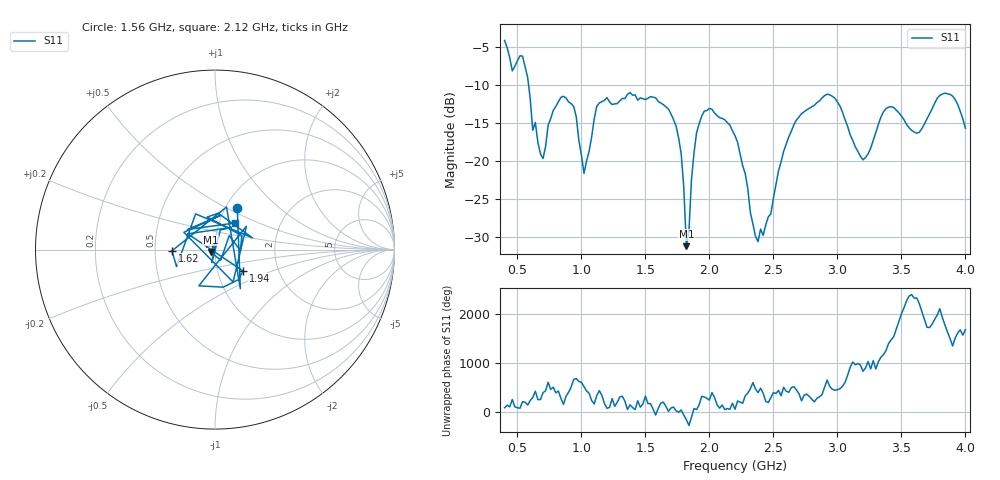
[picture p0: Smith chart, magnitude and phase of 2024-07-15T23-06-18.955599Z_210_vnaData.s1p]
!Created with skrf (http://scikit-rf.org).
# Hz S RI R 50.0
!freq ReS11 ImS11
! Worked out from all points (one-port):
!   181 points, 400 MHz to 4 GHz, reference 50 ohm
!   lowest |S11| = -31.2 dB at 1.82 GHz (marker M1), VSWR 1.06, Z = 47.6 - j1.25 ohm
!   |S11| at or under -10 dB: 587 MHz to end of sweep
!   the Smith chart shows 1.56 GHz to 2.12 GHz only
!   S11 on the Smith chart (normalised r, x): 1.56 GHz: 1.14, +0.56; 1.62 GHz: 0.61, -0.01; 1.94 GHz: 1.32, -0.33; 2.12 GHz: 1.19, +0.37
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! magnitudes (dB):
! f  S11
! 400 MHz  -4.2
! 460 MHz  -8.2
! 540 MHz  -6.3
! 620 MHz  -16.0
! 700 MHz  -19.7
! 860 MHz  -11.5
! 940 MHz  -12.9
! 1.02 GHz  -21.6
! 1.12 GHz  -12.8
! 1.3 GHz  -12.1
! 1.56 GHz  -11.6
! 1.62 GHz  -12.4
! 1.76 GHz  -17.0
! 1.8 GHz  -23.5
! 1.82 GHz  -31.2
! 1.88 GHz  -18.9
! 1.94 GHz  -14.1
! 2.12 GHz  -14.6
! 2.2 GHz  -16.7
! 2.38 GHz  -30.6
! 2.66 GHz  -15.2
! 2.92 GHz  -11.2
! 3.1 GHz  -16.6
! 3.2 GHz  -19.9
! 3.38 GHz  -13.1
! 3.56 GHz  -15.6
! 3.84 GHz  -11.1
! 4 GHz  -15.7
